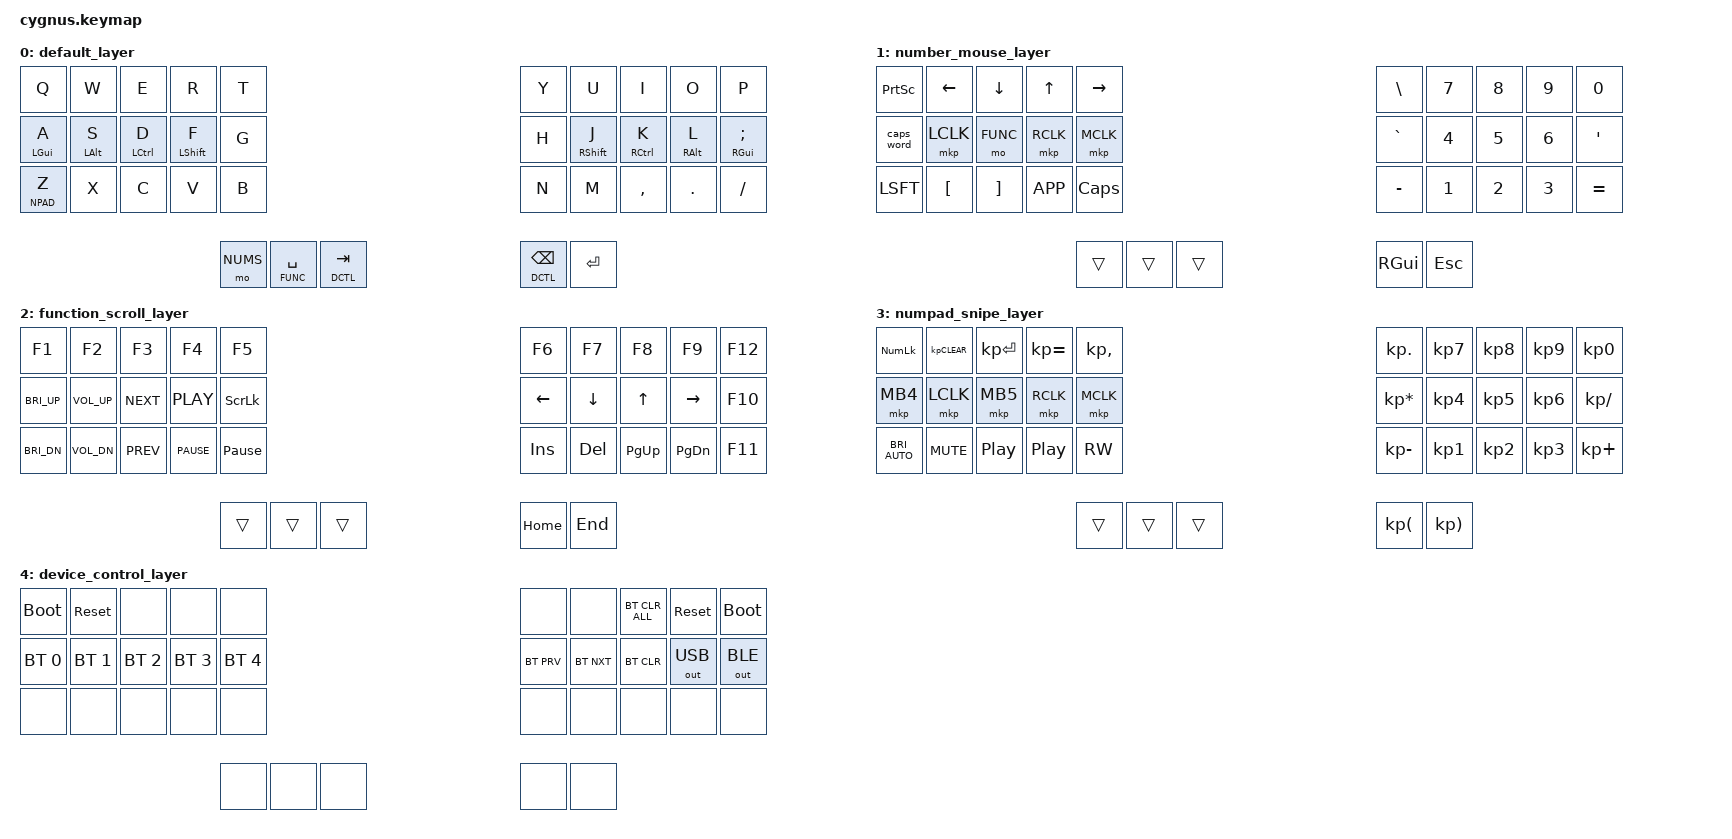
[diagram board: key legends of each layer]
#include <behaviors.dtsi>
#include <dt-bindings/zmk/bt.h>
#include <dt-bindings/zmk/keys.h>
#include <dt-bindings/zmk/pointing.h>
#include <dt-bindings/zmk/outputs.h>

#define DFLT 0
#define NUMS 1
#define FUNC 2
#define NPAD 3
#define DCTL 4

&mt {
    flavor = "tap-preferred";
    tapping-term-ms = <200>;
    quick-tap-ms = <200>;
};

&lt {
    flavor = "tap-preferred";
    tapping_term_ms = <200>;
    quick-tap-ms = <200>;
};

&sk {
    release-after-ms = <2000>;
    quick-release;
};

/ {
    behaviors {
        hm: homerow_mods {
            compatible = "zmk,behavior-hold-tap";
            label = "HOMEROW_MODS";
            #binding-cells = <2>;
            flavor = "tap-preferred";
            tapping-term-ms = <200>;
            quick-tap-ms = <180>;
            bindings = <&kp>, <&kp>;
            global-quick-tap;
        };

        as: as {
            compatible = "zmk,behavior-hold-tap";
            label = "AUTO_SHIFT";
            bindings = <&kp>, <&kp>;
            #binding-cells = <2>;
            flavor = "tap-preferred";
            tapping-term-ms = <135>;
            quick-tap-ms = <0>;
        };
    };

    keymap {
        compatible = "zmk,keymap";

        default_layer {
            bindings = <
                &kp Q            &kp W            &kp E            &kp R            &kp T              &kp Y            &kp U            &kp I            &kp O            &kp P
                &mt LGUI A       &mt LALT S       &mt LCTRL D      &mt LSHFT F      &kp G              &kp H            &mt RSHFT J      &mt RCTRL K      &mt RALT L       &mt RGUI SEMI
                &lt NPAD Z       &kp X            &kp C            &kp V            &kp B              &kp N            &kp M            &kp COMMA        &kp DOT          &kp FSLH
                                                  &mo NUMS         &lt FUNC SPACE   &lt DCTL TAB                        &lt DCTL BKSP    &kp ENTER
            >;
        };

        number_mouse_layer {
            bindings = <
                &kp PSCRN        &kp LEFT         &kp DOWN         &kp UP           &kp RIGHT          &kp BSLH         &kp N7           &kp N8           &kp N9           &kp N0
                &caps_word       &mkp LCLK        &mo FUNC         &mkp RCLK        &mkp MCLK          &kp GRAVE        &kp N4           &kp N5           &kp N6           &kp APOS
                &kp LSFT         &kp LBKT         &kp RBKT         &kp K_APP        &kp CAPS           &kp MINUS        &kp N1           &kp N2           &kp N3           &kp EQUAL
                                                  &trans           &trans           &trans                              &kp RGUI         &kp ESC
            >;
        };
         
        function_scroll_layer {
            bindings = <
                &kp F1           &kp F2           &kp F3           &kp F4           &kp F5             &kp F6           &kp F7           &kp F8           &kp F9           &kp F12
                &kp C_BRI_UP     &kp C_VOL_UP     &kp C_NEXT       &kp C_PLAY       &kp SLCK           &kp LEFT         &kp DOWN         &kp UP           &kp RIGHT        &kp F10
                &kp C_BRI_DN     &kp C_VOL_DN     &kp C_PREV       &kp C_PAUSE      &kp PAUSE_BREAK    &kp INS          &kp DEL          &kp PG_UP        &kp PG_DN        &kp F11
                                                  &trans           &trans           &trans                              &kp HOME         &kp END
            >;
        };

        numpad_snipe_layer {
            bindings = <
                &kp KP_NLCK      &kp KP_CLEAR     &kp KP_ENTER     &kp KP_EQUAL     &kp KP_COMMA       &kp KP_DOT       &kp KP_N7        &kp KP_N8        &kp KP_N9        &kp KP_N0
                &mkp MB4         &mkp LCLK        &mkp MB5         &mkp RCLK        &mkp MCLK          &kp KP_MULTIPLY  &kp KP_N4        &kp KP_N5        &kp KP_N6        &kp KP_DIVIDE
                &kp C_BRI_AUTO   &kp C_MUTE       &kp C_PP         &kp C_PLAY_PAUSE &kp C_RW           &kp KP_MINUS     &kp KP_N1        &kp KP_N2        &kp KP_N3        &kp KP_PLUS
                                                  &trans           &trans           &trans                              &kp KP_LPAR      &kp KP_RPAR
            >;
        };
         
        device_control_layer {
            bindings = <
                &bootloader      &sys_reset       &none            &none            &none              &none            &none            &bt BT_CLR_ALL   &sys_reset       &bootloader
                &bt BT_SEL 0     &bt BT_SEL 1     &bt BT_SEL 2     &bt BT_SEL 3     &bt BT_SEL 4       &bt BT_PRV       &bt BT_NXT       &bt BT_CLR       &out OUT_USB     &out OUT_BLE
                &none            &none            &none            &none            &none              &none            &none            &none            &none            &none 
                                                  &none            &none            &none                               &none            &none
            >;
        };
    };
};
